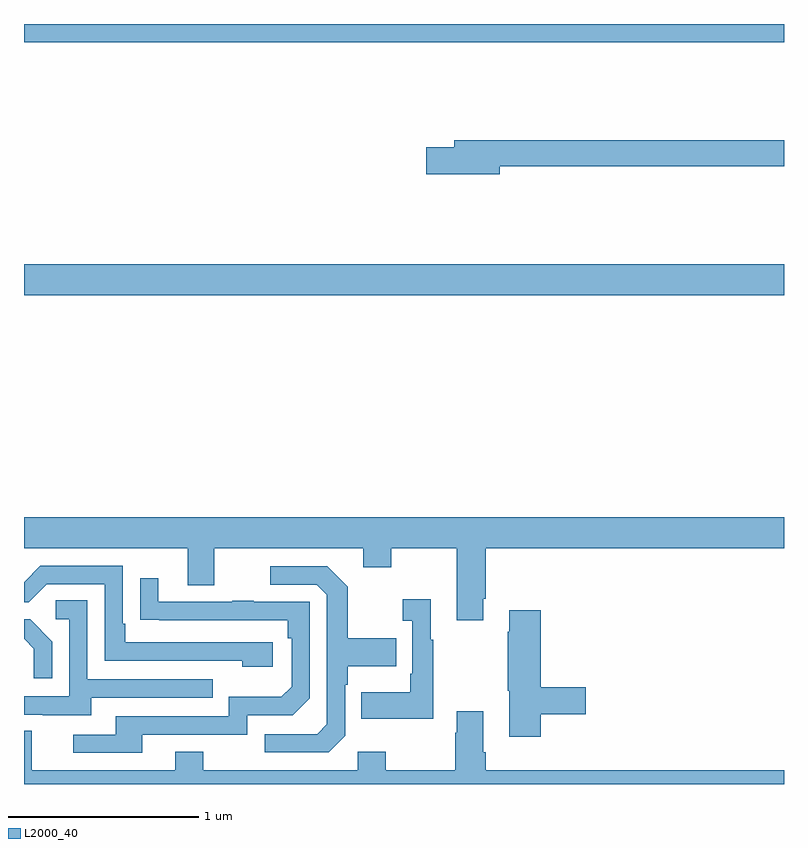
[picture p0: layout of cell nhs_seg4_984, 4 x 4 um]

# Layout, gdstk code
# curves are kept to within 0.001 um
import gdstk
lib = gdstk.Library(unit=1e-6, precision=1e-09)
def R(c, l, rs):  # rectangles x0, y0, x1, y1
    for r in rs: c.add(gdstk.rectangle(r[:2], r[2:], *l))
def P(c, l, *ps):  # polygons
    for p in ps: c.add(gdstk.Polygon(p, *l))
L2000_40 = (2000, 40)

nhs_seg4_984 = lib.new_cell('nhs_seg4_984')
R(nhs_seg4_984, L2000_40, [(161,811.472,165,811.636), (161,812.804,165,812.9)])
P(nhs_seg4_984, L2000_40, [(163.504,812.152),(165,812.152),(165,812.288),(163.265,812.288),(163.265,812.252),(163.116,812.252),(163.116,812.11),(163.504,812.11)],
  [(163.417,809.875),(163.43,809.875),(163.43,810.14),(165,810.14),(165,810.304),(161,810.304),(161,810.14),(161.861,810.14),(161.861,809.946),(162.001,809.946),(162.001,810.14),(162.785,810.14),(162.785,810.041),(162.933,810.041),(162.933,810.14),(163.277,810.14),(163.277,809.763),(163.417,809.763)],
  [(162.31,809.646),(161.533,809.646),(161.533,809.743),(161.52,809.743),(161.52,810.048),(161.085,810.048),(161,809.963),(161,809.856),(161.025,809.856),(161.121,809.952),(161.424,809.952),(161.424,809.55),(162.149,809.55),(162.149,809.516),(162.31,809.516)],
  [(162.69,809.154),(162.69,809.423),(162.703,809.423),(162.703,809.519),(162.959,809.519),(162.959,809.667),(162.703,809.667),(162.703,809.939),(162.597,810.045),(162.297,810.045),(162.297,809.949),(162.54,809.949),(162.594,809.895),(162.594,809.214),(162.543,809.163),(162.267,809.163),(162.267,809.067),(162.603,809.067)],
  [(161.623,809.16),(162.174,809.16),(162.174,809.262),(162.414,809.262),(162.504,809.352),(162.504,809.859),(162.209,809.859),(162.209,809.864),(162.097,809.864),(162.097,809.859),(161.707,809.859),(161.707,809.983),(161.611,809.983),(161.611,809.764),(162.388,809.763),(162.388,809.666),(162.408,809.666),(162.408,809.412),(162.355,809.359),(162.078,809.359),(162.078,809.256),(161.483,809.256),(161.483,809.16),(161.259,809.16),(161.259,809.064),(161.623,809.064)],
  [(163.153,809.659),(163.141,809.659),(163.141,809.872),(162.993,809.872),(162.993,809.759),(163.044,809.759),(163.044,809.479),(163.032,809.479),(163.032,809.383),(162.775,809.383),(162.775,809.243),(163.153,809.243)],
  [(161.353,809.355),(161.993,809.355),(161.993,809.451),(161.334,809.451),(161.334,809.867),(161.166,809.867),(161.166,809.766),(161.238,809.766),(161.238,809.361),(161,809.361),(161,809.265),(161.099,809.265),(161.099,809.261),(161.353,809.261)],
  [(163.721,809.266),(163.957,809.266),(163.957,809.408),(163.721,809.408),(163.721,809.815),(163.553,809.815),(163.553,809.702),(163.546,809.702),(163.546,809.391),(163.553,809.391),(163.553,809.148),(163.721,809.148)],
  [(161.148,809.65),(161.032,809.766),(161,809.766),(161,809.664),(161.051,809.613),(161.051,809.457),(161.148,809.457)],
  [(165,808.972),(163.43,808.972),(163.43,809.068),(163.417,809.068),(163.417,809.284),(163.277,809.284),(163.277,809.171),(163.27,809.171),(163.27,808.972),(162.903,808.972),(162.903,809.071),(162.756,809.071),(162.756,808.972),(161.943,808.972),(161.943,809.071),(161.795,809.071),(161.795,808.972),(161.041,808.972),(161.041,809.18),(161,809.18),(161,808.9),(165,808.9)])

lib.write_gds('nhs_seg4_984.gds')
